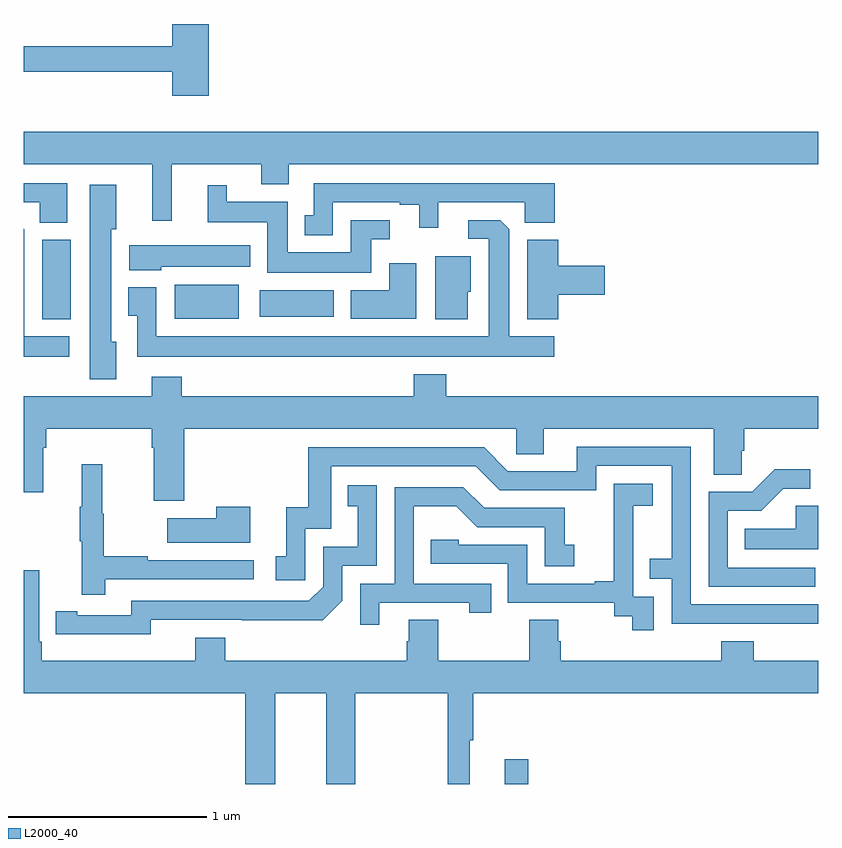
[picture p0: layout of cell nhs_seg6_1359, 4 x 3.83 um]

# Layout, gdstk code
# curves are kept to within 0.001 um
import gdstk
lib = gdstk.Library(unit=1e-6, precision=1e-09)
def R(c, l, rs):  # rectangles x0, y0, x1, y1
    for r in rs: c.add(gdstk.rectangle(r[:2], r[2:], *l))
def P(c, l, *ps):  # polygons
    for p in ps: c.add(gdstk.Polygon(p, *l))
L2000_40 = (2000, 40)

nhs_seg6_1359 = lib.new_cell('nhs_seg6_1359')
R(nhs_seg6_1359, L2000_40, [(195.422,993.5,195.539,993.625), (193.094,995.84,193.237,996.241), (193.76,995.843,194.083,996.013), (194.187,995.852,194.56,995.986)])
P(nhs_seg6_1359, L2000_40, [(193.931,997.327),(193.748,997.327),(193.748,997.214),(193,997.214),(193,997.086),(193.748,997.086),(193.748,996.966),(193.931,996.966)],
  [(193.745,996.62),(194.195,996.62),(194.195,996.521),(194.335,996.521),(194.335,996.62),(197,996.62),(197,996.784),(193,996.784),(193,996.62),(193.646,996.62),(193.646,996.336),(193.745,996.336)],
  [(194.556,996.429),(194.894,996.429),(194.894,996.417),(194.99,996.417),(194.99,996.3),(195.088,996.3),(195.088,996.429),(195.522,996.429),(195.522,996.326),(195.674,996.326),(195.674,996.525),(194.46,996.525),(194.46,996.363),(194.414,996.363),(194.414,996.263),(194.556,996.263)],
  [(193.219,996.525),(193,996.525),(193,996.429),(193.08,996.429),(193.08,996.326),(193.219,996.326)],
  [(193.465,995.727),(193.441,995.727),(193.441,996.294),(193.465,996.294),(193.465,996.517),(193.331,996.517),(193.331,995.537),(193.465,995.537)],
  [(194.749,996.243),(194.842,996.243),(194.842,996.339),(194.645,996.339),(194.645,996.178),(194.329,996.178),(194.329,996.433),(194.023,996.433),(194.023,996.514),(193.925,996.514),(193.925,996.329),(194.225,996.329),(194.225,996.074),(194.749,996.074)],
  [(195.67,995.755),(195.445,995.755),(195.444,996.293),(195.398,996.339),(195.237,996.339),(195.237,996.246),(195.341,996.246),(195.341,995.755),(193.668,995.755),(193.668,996.001),(193.526,996.001),(193.526,995.857),(193.571,995.857),(193.571,995.651),(195.67,995.651)],
  [(193.228,995.755),(193.003,995.755),(193.003,996.182),(193.002,996.182),(193.002,996.293),(193,996.295),(193,995.651),(193.228,995.651)],
  [(195.692,995.963),(195.925,995.963),(195.925,996.11),(195.692,996.11),(195.692,996.241),(195.536,996.241),(195.536,995.84),(195.692,995.84)],
  [(193.692,996.104),(194.14,996.104),(194.14,996.214),(193.53,996.214),(193.53,996.086),(193.692,996.086)],
  [(195.235,995.979),(195.25,995.979),(195.25,996.157),(195.071,996.157),(195.071,995.84),(195.235,995.84)],
  [(194.977,996.121),(194.84,996.121),(194.84,995.986),(194.645,995.986),(194.645,995.843),(194.977,995.843)],
  [(193.808,995.288),(195.48,995.288),(195.48,995.161),(195.619,995.161),(195.619,995.288),(196.475,995.288),(196.475,995.056),(196.614,995.056),(196.614,995.179),(196.628,995.179),(196.628,995.288),(197,995.288),(197,995.452),(195.128,995.452),(195.128,995.563),(194.963,995.563),(194.963,995.452),(193.796,995.452),(193.796,995.551),(193.643,995.551),(193.643,995.452),(193,995.452),(193,994.968),(193.099,994.968),(193.099,995.192),(193.112,995.192),(193.112,995.288),(193.643,995.288),(193.643,995.192),(193.655,995.192),(193.655,994.926),(193.808,994.926)],
  [(197,994.404),(196.359,994.404),(196.359,995.199),(195.785,995.199),(195.785,995.076),(195.438,995.076),(195.318,995.196),(194.431,995.196),(194.431,994.894),(194.321,994.894),(194.321,994.647),(194.268,994.647),(194.268,994.527),(194.418,994.527),(194.418,994.785),(194.547,994.785),(194.547,995.1),(195.276,995.1),(195.396,994.98),(195.882,994.98),(195.882,995.103),(196.263,995.103),(196.263,994.634),(196.153,994.634),(196.153,994.533),(196.263,994.533),(196.263,994.308),(197,994.307)],
  [(193.409,994.53),(194.158,994.53),(194.158,994.626),(193.625,994.626),(193.625,994.646),(193.402,994.646),(193.402,994.86),(193.394,994.86),(193.394,995.11),(193.292,995.11),(193.292,994.897),(193.281,994.897),(193.281,994.723),(193.292,994.723),(193.292,994.452),(193.409,994.452)],
  [(196.984,994.59),(196.545,994.59),(196.545,994.875),(196.714,994.875),(196.825,994.986),(196.96,994.986),(196.96,995.084),(196.781,995.084),(196.668,994.971),(196.449,994.971),(196.449,994.494),(196.984,994.494)],
  [(196.173,994.443),(196.068,994.443),(196.068,994.673),(196.07,994.673),(196.07,994.901),(196.168,994.901),(196.168,995.011),(195.97,995.011),(195.97,994.805),(195.971,994.805),(195.971,994.522),(195.875,994.522),(195.875,994.509),(195.534,994.509),(195.534,994.704),(195.189,994.704),(195.189,994.731),(195.049,994.731),(195.049,994.608),(195.438,994.608),(195.438,994.413),(195.972,994.413),(195.972,994.345),(196.065,994.345),(196.065,994.275),(196.173,994.275)],
  [(193.638,994.326),(194.506,994.325),(194.604,994.422),(194.604,994.599),(194.778,994.599),(194.778,995.005),(194.632,995.005),(194.632,994.899),(194.681,994.899),(194.681,994.695),(194.508,994.695),(194.508,994.494),(194.436,994.422),(193.542,994.422),(193.542,994.35),(193.27,994.35),(193.27,994.37),(193.162,994.37),(193.162,994.254),(193.638,994.253)],
  [(194.791,994.413),(195.242,994.413),(195.242,994.362),(195.353,994.362),(195.353,994.509),(194.964,994.509),(194.964,994.898),(195.178,994.898),(195.282,994.794),(195.624,994.794),(195.624,994.596),(195.772,994.596),(195.772,994.705),(195.723,994.705),(195.723,994.89),(195.319,994.89),(195.214,994.995),(194.868,994.995),(194.868,994.509),(194.694,994.509),(194.694,994.302),(194.791,994.302)],
  [(197,994.901),(196.887,994.901),(196.887,994.786),(196.63,994.786),(196.63,994.682),(197,994.682)],
  [(194.14,994.897),(193.97,994.897),(193.97,994.837),(193.721,994.837),(193.721,994.715),(194.14,994.715)],
  [(195.087,994.328),(194.939,994.328),(194.939,994.218),(194.927,994.218),(194.927,994.12),(194.015,994.12),(194.015,994.237),(193.862,994.237),(193.862,994.12),(193.091,994.12),(193.091,994.216),(193.077,994.216),(193.077,994.576),(193,994.576),(193,993.956),(194.114,993.956),(194.114,993.5),(194.266,993.5),(194.266,993.956),(194.522,993.956),(194.522,993.5),(194.67,993.5),(194.67,993.956),(195.135,993.956),(195.135,993.5),(195.245,993.5),(195.245,993.72),(195.263,993.72),(195.263,993.956),(197,993.956),(197,994.12),(196.676,994.12),(196.676,994.219),(196.511,994.219),(196.511,994.12),(195.704,994.12),(195.704,994.218),(195.691,994.218),(195.691,994.328),(195.544,994.328),(195.544,994.12),(195.087,994.12)])

lib.write_gds('nhs_seg6_1359.gds')
